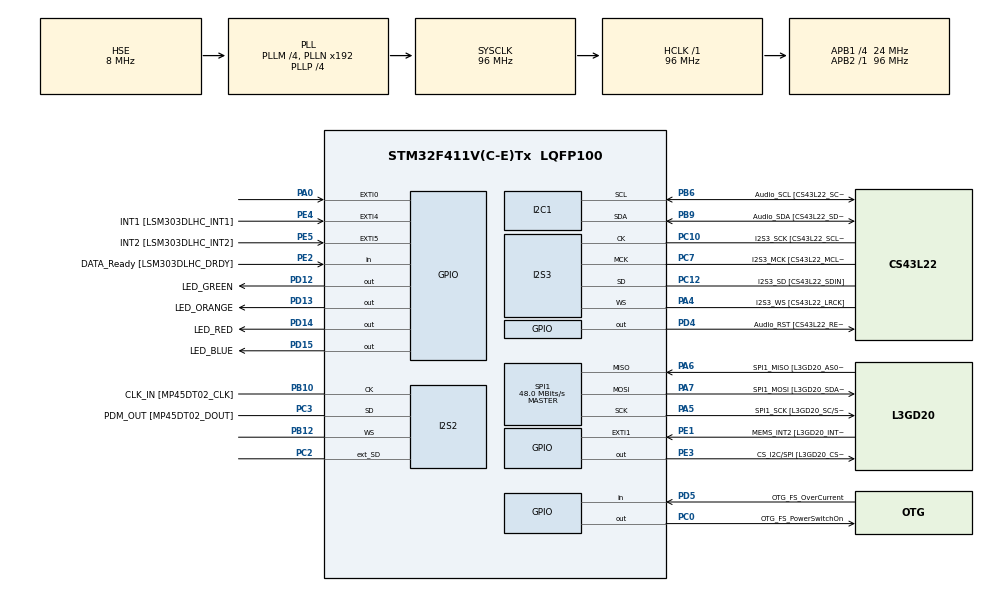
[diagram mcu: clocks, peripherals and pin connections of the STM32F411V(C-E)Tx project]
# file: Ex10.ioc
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FREERTOS.BinarySemaphores01=CriticalResourceSemaphore,Dynamic,NULL
FREERTOS.INCLUDE_vTaskDelayUntil=1
FREERTOS.Mutexes01=CriticalResourceMutex,Dynamic,NULL
FREERTOS.Tasks01=FlashGreenLed,0,128,StartFlashGreenLedTask,Default,NULL,Dynamic,NULL,NULL;FlashRedLed,0,128,StartFlashRedLedTask,Default,NULL,Dynamic,NULL,NULL;FlashOrangeLed,1,128,StartFlashOrangeLedTask,Default,NULL,Dynamic,NULL,NULL
FREERTOS.configUSE_NEWLIB_REENTRANT=1
I2S2.AudioFreq=I2S_AUDIOFREQ_96K
I2S2.ErrorAudioFreq=0.15 %
I2S2.FullDuplexMode=I2S_FULLDUPLEXMODE_ENABLE
I2S2.Instance=SPI$Index
I2S2.RealAudioFreq=96.153 KHz
I2S2.VirtualMode=I2S_MODE_MASTER
I2S3.AudioFreq=I2S_AUDIOFREQ_96K
I2S3.ErrorAudioFreq=-6.99 %
I2S3.FullDuplexMode=I2S_FULLDUPLEXMODE_DISABLE
I2S3.Instance=SPI$Index
I2S3.RealAudioFreq=89.285 KHz
I2S3.VirtualMode=I2S_MODE_MASTER
Mcu.Family=STM32F4
Mcu.Name=STM32F411V(C-E)Tx
Mcu.Package=LQFP100
NVIC.PriorityGroup=NVIC_PRIORITYGROUP_4
NVIC.TIM1_UP_TIM10_IRQn=true\:15\:0\:false\:false\:true\:false\:false\:true\:true
NVIC.TimeBase=TIM1_UP_TIM10_IRQn
NVIC.TimeBaseIP=TIM1
PA0-WKUP.GPIO_ModeDefaultEXTI=GPIO_MODE_EVT_RISING
PA0-WKUP.Signal=GPXTI0
PA10.GPIO_Label=OTG_FS_ID
PA10.Signal=USB_OTG_FS_ID
PA11.GPIO_Label=OTG_FS_DM
PA11.Signal=USB_OTG_FS_DM
PA12.GPIO_Label=OTG_FS_DP
PA12.Signal=USB_OTG_FS_DP
PA13.GPIO_Label=SWDIO
PA13.Mode=Serial_Wire
PA13.Signal=SYS_JTMS-SWDIO
PA14.GPIO_Label=SWCLK
PA14.Mode=Serial_Wire
PA14.Signal=SYS_JTCK-SWCLK
PA4.GPIO_Label=I2S3_WS [CS43L22_LRCK]
PA4.GPIO_Mode=GPIO_MODE_AF_PP
PA4.GPIO_PuPd=GPIO_NOPULL
PA4.GPIO_Speed=GPIO_SPEED_FREQ_LOW
PA4.Mode=Half_Duplex_Master
PA4.Signal=I2S3_WS
PA5.GPIO_Label=SPI1_SCK [L3GD20_SC/SPC]
PA5.Mode=Full_Duplex_Master
PA5.Signal=SPI1_SCK
PA6.GPIO_Label=SPI1_MISO [L3GD20_AS0/SDO]
PA6.Mode=Full_Duplex_Master
PA6.Signal=SPI1_MISO
PA7.GPIO_Label=SPI1_MOSI [L3GD20_SDA/SDI/SDO]
PA7.Mode=Full_Duplex_Master
PA7.Signal=SPI1_MOSI
PA9.GPIO_Label=VBUS_FS
PA9.Signal=USB_OTG_FS_VBUS
PB10.GPIO_Label=CLK_IN [MP45DT02_CLK]
PB10.Mode=Full_Duplex_Master
PB10.Signal=I2S2_CK
PB12.Mode=Full_Duplex_Master
PB12.Signal=I2S2_WS
PB3.GPIO_Label=SWO
PB3.Signal=SYS_JTDO-SWO
PB6.GPIO_Label=Audio_SCL [CS43L22_SCL]
PB6.GPIO_Mode=GPIO_MODE_AF_OD
PB6.GPIO_Pu=GPIO_PULLUP
PB6.GPIO_PuPd=GPIO_NOPULL
PB6.GPIO_Speed=GPIO_SPEED_FREQ_LOW
PB6.Mode=I2C
PB6.Signal=I2C1_SCL
PB9.GPIO_Label=Audio_SDA [CS43L22_SDA]
PB9.GPIO_Mode=GPIO_MODE_AF_OD
PB9.GPIO_Pu=GPIO_PULLUP
PB9.GPIO_PuPd=GPIO_NOPULL
PB9.GPIO_Speed=GPIO_SPEED_FREQ_LOW
PB9.Mode=I2C
PB9.Signal=I2C1_SDA
PC0.GPIO_Label=OTG_FS_PowerSwitchOn
PC0.PinState=GPIO_PIN_SET
PC0.Signal=GPIO_Output
PC10.GPIO_Label=I2S3_SCK [CS43L22_SCLK]
PC10.GPIO_Mode=GPIO_MODE_AF_PP
PC10.GPIO_PuPd=GPIO_NOPULL
PC10.GPIO_Speed=GPIO_SPEED_FREQ_LOW
PC10.Mode=Half_Duplex_Master
PC10.Signal=I2S3_CK
PC12.GPIO_Label=I2S3_SD [CS43L22_SDIN]
PC12.GPIO_Mode=GPIO_MODE_AF_PP
PC12.GPIO_PuPd=GPIO_NOPULL
PC12.GPIO_Speed=GPIO_SPEED_FREQ_LOW
PC12.Mode=Half_Duplex_Master
PC12.Signal=I2S3_SD
PC14-OSC32_IN.GPIO_Label=PC14-OSC32_IN
PC14-OSC32_IN.Mode=LSE-External-Oscillator
PC14-OSC32_IN.Signal=RCC_OSC32_IN
PC15-OSC32_OUT.GPIO_Label=PC15-OSC32_OUT
PC15-OSC32_OUT.Mode=LSE-External-Oscillator
PC15-OSC32_OUT.Signal=RCC_OSC32_OUT
PC2.Mode=Full_Duplex_Master
PC2.Signal=I2S2_ext_SD
PC3.GPIO_Label=PDM_OUT [MP45DT02_DOUT]
PC3.Mode=Full_Duplex_Master
PC3.Signal=I2S2_SD
PC7.GPIO_Label=I2S3_MCK [CS43L22_MCLK]
PC7.GPIO_Mode=GPIO_MODE_AF_PP
PC7.GPIO_PuPd=GPIO_NOPULL
PC7.GPIO_Speed=GPIO_SPEED_FREQ_LOW
PC7.Mode=Master_Clock_Activated
PC7.Signal=I2S3_MCK
PD12.GPIO_Label=LED_GREEN
PD12.GPIO_PuPd=GPIO_NOPULL
PD12.GPIO_Speed=GPIO_SPEED_FREQ_LOW
PD12.Signal=GPIO_Output
PD13.GPIO_Label=LED_ORANGE
PD13.GPIO_PuPd=GPIO_NOPULL
PD13.GPIO_Speed=GPIO_SPEED_FREQ_LOW
PD13.Signal=GPIO_Output
PD14.GPIO_Label=LED_RED
PD14.GPIO_PuPd=GPIO_NOPULL
PD14.GPIO_Speed=GPIO_SPEED_FREQ_LOW
PD14.Signal=GPIO_Output
PD15.GPIO_Label=LED_BLUE
PD15.GPIO_PuPd=GPIO_NOPULL
PD15.GPIO_Speed=GPIO_SPEED_FREQ_LOW
PD15.Signal=GPIO_Output
PD4.GPIO_Label=Audio_RST [CS43L22_RESET]
PD4.Signal=GPIO_Output
PD5.GPIO_Label=OTG_FS_OverCurrent
PD5.Signal=GPIO_Input
PE1.GPIO_Label=MEMS_INT2 [L3GD20_INT2]
PE1.GPIO_ModeDefaultEXTI=GPIO_MODE_EVT_RISING
PE1.Signal=GPXTI1
PE2.GPIO_Label=DATA_Ready [LSM303DLHC_DRDY]
PE2.Signal=GPIO_Input
PE3.GPIO_Label=CS_I2C/SPI [L3GD20_CS_I2C/SPI]
PE3.Signal=GPIO_Output
PE4.GPIO_Label=INT1 [LSM303DLHC_INT1]
PE4.GPIO_ModeDefaultEXTI=GPIO_MODE_EVT_RISING
PE4.Signal=GPXTI4
PE5.GPIO_Label=INT2 [LSM303DLHC_INT2]
PE5.GPIO_ModeDefaultEXTI=GPIO_MODE_EVT_RISING
PE5.Signal=GPXTI5
PH0\ -\ OSC_IN.GPIO_Label=PH0-OSC_IN
PH0\ -\ OSC_IN.Mode=HSE-External-Oscillator
PH0\ -\ OSC_IN.Signal=RCC_OSC_IN
PH1\ -\ OSC_OUT.GPIO_Label=PH1-OSC_OUT
PH1\ -\ OSC_OUT.Mode=HSE-External-Oscillator
PH1\ -\ OSC_OUT.Signal=RCC_OSC_OUT
ProjectManager.HeapSize=0x200
ProjectManager.StackSize=0x400
ProjectManager.TargetToolchain=STM32CubeIDE
RCC.48MHZClocksFreq_Value=48000000
RCC.AHBFreq_Value=96000000
RCC.APB1CLKDivider=RCC_HCLK_DIV4
RCC.APB1Freq_Value=24000000
RCC.APB1TimFreq_Value=48000000
RCC.APB2Freq_Value=96000000
RCC.APB2TimFreq_Value=96000000
RCC.CortexFreq_Value=96000000
RCC.HCLKFreq_Value=96000000
RCC.HSE_VALUE=8000000
RCC.HSI_VALUE=16000000
RCC.PLLI2SM=5
RCC.PLLI2SN=200
RCC.PLLM=4
RCC.PLLP=RCC_PLLP_DIV4
RCC.PLLQ=8
RCC.PLLSourceVirtual=RCC_PLLSOURCE_HSE
RCC.SYSCLKFreq_VALUE=96000000
RCC.SYSCLKSource=RCC_SYSCLKSOURCE_PLLCLK
RCC.VCOOutputFreq_Value=384000000
SPI1.BaudRatePrescaler=SPI_BAUDRATEPRESCALER_2
SPI1.CalculateBaudRate=48.0 MBits/s
SPI1.Direction=SPI_DIRECTION_2LINES
SPI1.Mode=SPI_MODE_MASTER
SPI1.VirtualType=VM_MASTER
VP_FREERTOS_VS_CMSIS_V1.Mode=CMSIS_V1
VP_SYS_VS_tim1.Mode=TIM1
board=STM32F411E-DISCO

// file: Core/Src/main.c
/* USER CODE BEGIN Header */
/**
  ******************************************************************************
  * @file           : main.c
  * @brief          : Main program body
  ******************************************************************************
  * @attention
  *
  * Copyright (c) 2024 STMicroelectronics.
  * All rights reserved.
  *
  * This software is licensed under terms that can be found in the LICENSE file
  * in the root directory of this software component.
  * If no LICENSE file comes with this software, it is provided AS-IS.
  *
  ******************************************************************************
  */
/* USER CODE END Header */
#include "main.h"
#include "cmsis_os.h"

I2C_HandleTypeDef hi2c1;

I2S_HandleTypeDef hi2s2;
I2S_HandleTypeDef hi2s3;

SPI_HandleTypeDef hspi1;

osThreadId FlashGreenLedHandle;
osThreadId FlashRedLedHandle;
osThreadId FlashOrangeLedHandle;
osMutexId CriticalResourceMutexHandle;
osSemaphoreId CriticalResourceSemaphoreHandle;

void SystemClock_Config(void);
void PeriphCommonClock_Config(void);
static void MX_GPIO_Init(void);
static void MX_I2C1_Init(void);
static void MX_I2S2_Init(void);
static void MX_I2S3_Init(void);
static void MX_SPI1_Init(void);
void StartFlashGreenLedTask(void const * argument);
void StartFlashRedLedTask(void const * argument);
void StartFlashOrangeLedTask(void const * argument);

int main(void)
{

  /* MCU Configuration--------------------------------------------------------*/

  /* Reset of all peripherals, Initializes the Flash interface and the Systick. */
  HAL_Init();

  /* Configure the system clock */
  SystemClock_Config();

/* Configure the peripherals common clocks */
  PeriphCommonClock_Config();

  /* Initialize all configured peripherals */
  MX_GPIO_Init();
  MX_I2C1_Init();
  MX_I2S2_Init();
  MX_I2S3_Init();
  MX_SPI1_Init();

  /* Create the mutex(es) */
  /* definition and creation of CriticalResourceMutex */
  osMutexDef(CriticalResourceMutex);
  CriticalResourceMutexHandle = osMutexCreate(osMutex(CriticalResourceMutex));

  /* Create the semaphores(s) */
  /* definition and creation of CriticalResourceSemaphore */
  osSemaphoreDef(CriticalResourceSemaphore);
  CriticalResourceSemaphoreHandle = osSemaphoreCreate(osSemaphore(CriticalResourceSemaphore), 1);

  /* Create the thread(s) */
  /* definition and creation of FlashGreenLed */
  osThreadDef(FlashGreenLed, StartFlashGreenLedTask, osPriorityNormal, 0, 128);
  FlashGreenLedHandle = osThreadCreate(osThread(FlashGreenLed), NULL);

  /* definition and creation of FlashRedLed */
  osThreadDef(FlashRedLed, StartFlashRedLedTask, osPriorityNormal, 0, 128);
  FlashRedLedHandle = osThreadCreate(osThread(FlashRedLed), NULL);

  /* definition and creation of FlashOrangeLed */
  osThreadDef(FlashOrangeLed, StartFlashOrangeLedTask, osPriorityAboveNormal, 0, 128);
  FlashOrangeLedHandle = osThreadCreate(osThread(FlashOrangeLed), NULL);

  /* Start scheduler */
  osKernelStart();

  /* We should never get here as control is now taken by the scheduler */
  /* Infinite loop */
  while (1)
  {

  }
}

void SystemClock_Config(void)
{
  RCC_OscInitTypeDef RCC_OscInitStruct = {0};
  RCC_ClkInitTypeDef RCC_ClkInitStruct = {0};

  /** Configure the main internal regulator output voltage
  */
  __HAL_RCC_PWR_CLK_ENABLE();
  __HAL_PWR_VOLTAGESCALING_CONFIG(PWR_REGULATOR_VOLTAGE_SCALE1);

  /** Initializes the RCC Oscillators according to the specified parameters
  * in the RCC_OscInitTypeDef structure.
  */
  RCC_OscInitStruct.OscillatorType = RCC_OSCILLATORTYPE_HSE;
  RCC_OscInitStruct.HSEState = RCC_HSE_ON;
  RCC_OscInitStruct.PLL.PLLState = RCC_PLL_ON;
  RCC_OscInitStruct.PLL.PLLSource = RCC_PLLSOURCE_HSE;
  RCC_OscInitStruct.PLL.PLLM = 4;
  RCC_OscInitStruct.PLL.PLLN = 192;
  RCC_OscInitStruct.PLL.PLLP = RCC_PLLP_DIV4;
  RCC_OscInitStruct.PLL.PLLQ = 8;
  if (HAL_RCC_OscConfig(&RCC_OscInitStruct) != HAL_OK)
  {
    Error_Handler();
  }

  /** Initializes the CPU, AHB and APB buses clocks
  */
  RCC_ClkInitStruct.ClockType = RCC_CLOCKTYPE_HCLK|RCC_CLOCKTYPE_SYSCLK
                              |RCC_CLOCKTYPE_PCLK1|RCC_CLOCKTYPE_PCLK2;
  RCC_ClkInitStruct.SYSCLKSource = RCC_SYSCLKSOURCE_PLLCLK;
  RCC_ClkInitStruct.AHBCLKDivider = RCC_SYSCLK_DIV1;
  RCC_ClkInitStruct.APB1CLKDivider = RCC_HCLK_DIV4;
  RCC_ClkInitStruct.APB2CLKDivider = RCC_HCLK_DIV1;

  if (HAL_RCC_ClockConfig(&RCC_ClkInitStruct, FLASH_LATENCY_3) != HAL_OK)
  {
    Error_Handler();
  }
}

void PeriphCommonClock_Config(void)
{
  RCC_PeriphCLKInitTypeDef PeriphClkInitStruct = {0};

  /** Initializes the peripherals clock
  */
  PeriphClkInitStruct.PeriphClockSelection = RCC_PERIPHCLK_I2S;
  PeriphClkInitStruct.PLLI2S.PLLI2SN = 200;
  PeriphClkInitStruct.PLLI2S.PLLI2SM = 5;
  PeriphClkInitStruct.PLLI2S.PLLI2SR = 2;
  if (HAL_RCCEx_PeriphCLKConfig(&PeriphClkInitStruct) != HAL_OK)
  {
    Error_Handler();
  }
}

static void MX_I2C1_Init(void)
{

  hi2c1.Instance = I2C1;
  hi2c1.Init.ClockSpeed = 100000;
  hi2c1.Init.DutyCycle = I2C_DUTYCYCLE_2;
  hi2c1.Init.OwnAddress1 = 0;
  hi2c1.Init.AddressingMode = I2C_ADDRESSINGMODE_7BIT;
  hi2c1.Init.DualAddressMode = I2C_DUALADDRESS_DISABLE;
  hi2c1.Init.OwnAddress2 = 0;
  hi2c1.Init.GeneralCallMode = I2C_GENERALCALL_DISABLE;
  hi2c1.Init.NoStretchMode = I2C_NOSTRETCH_DISABLE;
  if (HAL_I2C_Init(&hi2c1) != HAL_OK)
  {
    Error_Handler();
  }

}

static void MX_I2S2_Init(void)
{

  hi2s2.Instance = SPI2;
  hi2s2.Init.Mode = I2S_MODE_MASTER_TX;
  hi2s2.Init.Standard = I2S_STANDARD_PHILIPS;
  hi2s2.Init.DataFormat = I2S_DATAFORMAT_16B;
  hi2s2.Init.MCLKOutput = I2S_MCLKOUTPUT_DISABLE;
  hi2s2.Init.AudioFreq = I2S_AUDIOFREQ_96K;
  hi2s2.Init.CPOL = I2S_CPOL_LOW;
  hi2s2.Init.ClockSource = I2S_CLOCK_PLL;
  hi2s2.Init.FullDuplexMode = I2S_FULLDUPLEXMODE_ENABLE;
  if (HAL_I2S_Init(&hi2s2) != HAL_OK)
  {
    Error_Handler();
  }

}

static void MX_I2S3_Init(void)
{

  hi2s3.Instance = SPI3;
  hi2s3.Init.Mode = I2S_MODE_MASTER_TX;
  hi2s3.Init.Standard = I2S_STANDARD_PHILIPS;
  hi2s3.Init.DataFormat = I2S_DATAFORMAT_16B;
  hi2s3.Init.MCLKOutput = I2S_MCLKOUTPUT_ENABLE;
  hi2s3.Init.AudioFreq = I2S_AUDIOFREQ_96K;
  hi2s3.Init.CPOL = I2S_CPOL_LOW;
  hi2s3.Init.ClockSource = I2S_CLOCK_PLL;
  hi2s3.Init.FullDuplexMode = I2S_FULLDUPLEXMODE_DISABLE;
  if (HAL_I2S_Init(&hi2s3) != HAL_OK)
  {
    Error_Handler();
  }

}

static void MX_SPI1_Init(void)
{

  /* SPI1 parameter configuration*/
  hspi1.Instance = SPI1;
  hspi1.Init.Mode = SPI_MODE_MASTER;
  hspi1.Init.Direction = SPI_DIRECTION_2LINES;
  hspi1.Init.DataSize = SPI_DATASIZE_8BIT;
  hspi1.Init.CLKPolarity = SPI_POLARITY_LOW;
  hspi1.Init.CLKPhase = SPI_PHASE_1EDGE;
  hspi1.Init.NSS = SPI_NSS_SOFT;
  hspi1.Init.BaudRatePrescaler = SPI_BAUDRATEPRESCALER_2;
  hspi1.Init.FirstBit = SPI_FIRSTBIT_MSB;
  hspi1.Init.TIMode = SPI_TIMODE_DISABLE;
  hspi1.Init.CRCCalculation = SPI_CRCCALCULATION_DISABLE;
  hspi1.Init.CRCPolynomial = 10;
  if (HAL_SPI_Init(&hspi1) != HAL_OK)
  {
    Error_Handler();
  }

}

static void MX_GPIO_Init(void)
{
  GPIO_InitTypeDef GPIO_InitStruct = {0};

  /* GPIO Ports Clock Enable */
  __HAL_RCC_GPIOE_CLK_ENABLE();
  __HAL_RCC_GPIOC_CLK_ENABLE();
  __HAL_RCC_GPIOH_CLK_ENABLE();
  __HAL_RCC_GPIOA_CLK_ENABLE();
  __HAL_RCC_GPIOB_CLK_ENABLE();
  __HAL_RCC_GPIOD_CLK_ENABLE();

  /*Configure GPIO pin Output Level */
  HAL_GPIO_WritePin(CS_I2C_SPI_GPIO_Port, CS_I2C_SPI_Pin, GPIO_PIN_RESET);

  /*Configure GPIO pin Output Level */
  HAL_GPIO_WritePin(OTG_FS_PowerSwitchOn_GPIO_Port, OTG_FS_PowerSwitchOn_Pin, GPIO_PIN_SET);

  /*Configure GPIO pin Output Level */
  HAL_GPIO_WritePin(GPIOD, LED_GREEN_Pin|LED_ORANGE_Pin|LED_RED_Pin|LED_BLUE_Pin
                          |Audio_RST_Pin, GPIO_PIN_RESET);

  /*Configure GPIO pin : DATA_Ready_Pin */
  GPIO_InitStruct.Pin = DATA_Ready_Pin;
  GPIO_InitStruct.Mode = GPIO_MODE_INPUT;
  GPIO_InitStruct.Pull = GPIO_NOPULL;
  HAL_GPIO_Init(DATA_Ready_GPIO_Port, &GPIO_InitStruct);

  /*Configure GPIO pin : CS_I2C_SPI_Pin */
  GPIO_InitStruct.Pin = CS_I2C_SPI_Pin;
  GPIO_InitStruct.Mode = GPIO_MODE_OUTPUT_PP;
  GPIO_InitStruct.Pull = GPIO_NOPULL;
  GPIO_InitStruct.Speed = GPIO_SPEED_FREQ_LOW;
  HAL_GPIO_Init(CS_I2C_SPI_GPIO_Port, &GPIO_InitStruct);

  /*Configure GPIO pins : INT1_Pin INT2_Pin MEMS_INT2_Pin */
  GPIO_InitStruct.Pin = INT1_Pin|INT2_Pin|MEMS_INT2_Pin;
  GPIO_InitStruct.Mode = GPIO_MODE_EVT_RISING;
  GPIO_InitStruct.Pull = GPIO_NOPULL;
  HAL_GPIO_Init(GPIOE, &GPIO_InitStruct);

  /*Configure GPIO pin : OTG_FS_PowerSwitchOn_Pin */
  GPIO_InitStruct.Pin = OTG_FS_PowerSwitchOn_Pin;
  GPIO_InitStruct.Mode = GPIO_MODE_OUTPUT_PP;
  GPIO_InitStruct.Pull = GPIO_NOPULL;
  GPIO_InitStruct.Speed = GPIO_SPEED_FREQ_LOW;
  HAL_GPIO_Init(OTG_FS_PowerSwitchOn_GPIO_Port, &GPIO_InitStruct);

  /*Configure GPIO pin : PA0 */
  GPIO_InitStruct.Pin = GPIO_PIN_0;
  GPIO_InitStruct.Mode = GPIO_MODE_EVT_RISING;
  GPIO_InitStruct.Pull = GPIO_NOPULL;
  HAL_GPIO_Init(GPIOA, &GPIO_InitStruct);

  /*Configure GPIO pins : LED_GREEN_Pin LED_ORANGE_Pin LED_RED_Pin LED_BLUE_Pin
                           Audio_RST_Pin */
  GPIO_InitStruct.Pin = LED_GREEN_Pin|LED_ORANGE_Pin|LED_RED_Pin|LED_BLUE_Pin
                          |Audio_RST_Pin;
  GPIO_InitStruct.Mode = GPIO_MODE_OUTPUT_PP;
  GPIO_InitStruct.Pull = GPIO_NOPULL;
  GPIO_InitStruct.Speed = GPIO_SPEED_FREQ_LOW;
  HAL_GPIO_Init(GPIOD, &GPIO_InitStruct);

  /*Configure GPIO pin : VBUS_FS_Pin */
  GPIO_InitStruct.Pin = VBUS_FS_Pin;
  GPIO_InitStruct.Mode = GPIO_MODE_INPUT;
  GPIO_InitStruct.Pull = GPIO_NOPULL;
  HAL_GPIO_Init(VBUS_FS_GPIO_Port, &GPIO_InitStruct);

  /*Configure GPIO pins : OTG_FS_ID_Pin OTG_FS_DM_Pin OTG_FS_DP_Pin */
  GPIO_InitStruct.Pin = OTG_FS_ID_Pin|OTG_FS_DM_Pin|OTG_FS_DP_Pin;
  GPIO_InitStruct.Mode = GPIO_MODE_AF_PP;
  GPIO_InitStruct.Pull = GPIO_NOPULL;
  GPIO_InitStruct.Speed = GPIO_SPEED_FREQ_VERY_HIGH;
  GPIO_InitStruct.Alternate = GPIO_AF10_OTG_FS;
  HAL_GPIO_Init(GPIOA, &GPIO_InitStruct);

  /*Configure GPIO pin : OTG_FS_OverCurrent_Pin */
  GPIO_InitStruct.Pin = OTG_FS_OverCurrent_Pin;
  GPIO_InitStruct.Mode = GPIO_MODE_INPUT;
  GPIO_InitStruct.Pull = GPIO_NOPULL;
  HAL_GPIO_Init(OTG_FS_OverCurrent_GPIO_Port, &GPIO_InitStruct);

}

/* USER CODE BEGIN 4 */
int Start_Flag = 1;
void Access_Function(){
	osSemaphoreWait(CriticalResourceSemaphoreHandle, osWaitForever);//semaphore P (i.e. wait)
	if(Start_Flag == 1){
		Start_Flag = 0;
	}else {
		HAL_GPIO_TogglePin(GPIOD, LED_BLUE_Pin);
	}//else
	for(int i=0;i<2000000;++i);
	Start_Flag = 1;
	osSemaphoreRelease(CriticalResourceSemaphoreHandle);//semaphore V (i.e. signal)
	return;
}//access function
/* USER CODE END 4 */

void StartFlashGreenLedTask(void const * argument)
{
  /* USER CODE BEGIN 5 */
  /* Infinite loop */
  for(;;)
  {
	  HAL_GPIO_TogglePin(GPIOD, LED_GREEN_Pin);//green on

	  Access_Function();//access shared data

	  osDelay(200);//200 Millisecond delay
	  HAL_GPIO_TogglePin(GPIOD, LED_GREEN_Pin);//green off
	  osDelay(200);//200 Millisecond delay
  }
  /* USER CODE END 5 */
}

void StartFlashRedLedTask(void const * argument)
{
  /* USER CODE BEGIN StartFlashRedLedTask */
  /* Infinite loop */
  for(;;)
  {
	  HAL_GPIO_TogglePin(GPIOD, LED_RED_Pin);//red on

	  Access_Function();//access shared data

	  osDelay(550);//550 Millisecond delay
	  HAL_GPIO_TogglePin(GPIOD, LED_RED_Pin);//red off
	  osDelay(550);//550 Millisecond delay
  }
  /* USER CODE END StartFlashRedLedTask */
}

void StartFlashOrangeLedTask(void const * argument)
{
  /* USER CODE BEGIN StartFlashOrangeLedTask */
  /* Infinite loop */
  for(;;)
  {
	  HAL_GPIO_TogglePin(GPIOD, LED_ORANGE_Pin);//orange toggle
	  osDelay(50);//50 Millisecond delay
  }
  /* USER CODE END StartFlashOrangeLedTask */
}

void HAL_TIM_PeriodElapsedCallback(TIM_HandleTypeDef *htim)
{
  if (htim->Instance == TIM1) {
    HAL_IncTick();
  }
}

void Error_Handler(void)
{
  __disable_irq();
  while (1)
  {
  }
}
